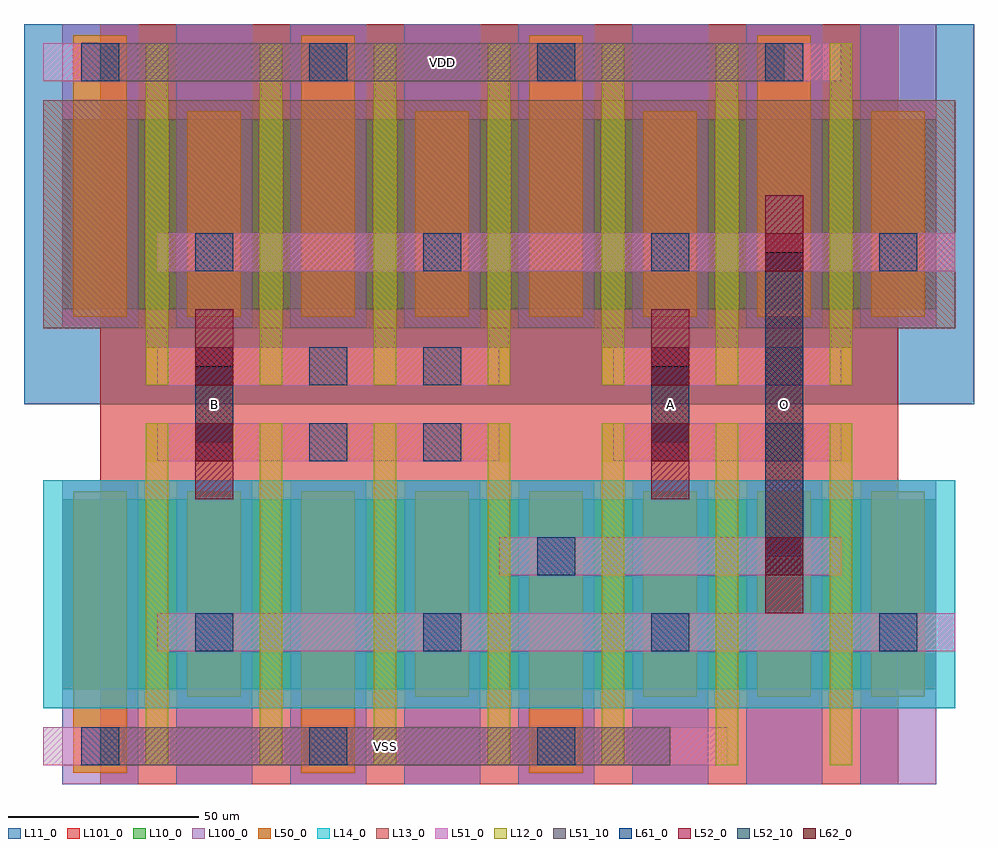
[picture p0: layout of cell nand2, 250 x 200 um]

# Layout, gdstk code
import gdstk
lib = gdstk.Library(unit=1e-6, precision=1e-09)
def R(c, l, rs):  # rectangles x0, y0, x1, y1
    for r in rs: c.add(gdstk.rectangle(r[:2], r[2:], *l))
def A(c, l, x, y, w, h, nx, ny, dx, dy):  # array of equal rectangles
    R(c, l, [(x+i*dx, y+j*dy, x+i*dx+w, y+j*dy+h) for i in range(nx) for j in range(ny)])
L10_0 = (10, 0)
L11_0 = (11, 0)
L12_0 = (12, 0)
L13_0 = (13, 0)
L14_0 = (14, 0)
L50_0 = (50, 0)
L51_0 = (51, 0)
L51_10 = (51, 10)
L52_0 = (52, 0)
L52_10 = (52, 10)
L61_0 = (61, 0)
L62_0 = (62, 0)
L100_0 = (100, 0)
L101_0 = (101, 0)

nand2_virtualinst_mn0 = lib.new_cell('nand2_VirtualInst_MN0')
A(nand2_virtualinst_mn0, L10_0, -10, 25, 50, 50, 4, 1, 30, 0)
A(nand2_virtualinst_mn0, L12_0, 12, 5, 6, 90, 4, 1, 30, 0)
A(nand2_virtualinst_mn0, L14_0, -15, 20, 60, 60, 4, 1, 30, 0)
A(nand2_virtualinst_mn0, L50_0, 12, 85, 36, 10, 3, 1, 30, 0)
R(nand2_virtualinst_mn0, L50_0, [(-7,23,7,77), (23,23,37,77), (23,23,37,77), (53,23,67,77), (53,23,67,77), (83,23,97,77), (83,23,97,77), (113,23,127,77)])
A(nand2_virtualinst_mn0, L100_0, -10, 0, 20, 80, 5, 1, 30, 0)
R(nand2_virtualinst_mn0, L100_0, [(12,85,108,95)])
A(nand2_virtualinst_mn0, L101_0, 0, 0, 30, 100, 4, 1, 30, 0)
nand2_virtualinst_mn0.add(gdstk.Label('S', (0,40), layer=100, texttype=0))
nand2_virtualinst_mn0.add(gdstk.Label('S', (60,40), layer=100, texttype=0))
nand2_virtualinst_mn0.add(gdstk.Label('S', (120,40), layer=100, texttype=0))
nand2_virtualinst_mn0.add(gdstk.Label('D', (30,40), layer=100, texttype=0))
nand2_virtualinst_mn0.add(gdstk.Label('D', (90,40), layer=100, texttype=0))
nand2_virtualinst_mn0.add(gdstk.Label('G', (60,90), layer=100, texttype=0))

nand2_virtualinst_mn1 = lib.new_cell('nand2_VirtualInst_MN1')
A(nand2_virtualinst_mn1, L10_0, -10, 25, 50, 50, 3, 1, 30, 0)
A(nand2_virtualinst_mn1, L12_0, 12, 5, 6, 90, 3, 1, 30, 0)
A(nand2_virtualinst_mn1, L14_0, -15, 20, 60, 60, 3, 1, 30, 0)
R(nand2_virtualinst_mn1, L50_0, [(-7,23,7,77), (23,23,37,77), (23,23,37,77), (53,23,67,77), (53,23,67,77), (83,23,97,77), (12,85,48,95), (42,85,78,95)])
A(nand2_virtualinst_mn1, L100_0, -10, 0, 20, 80, 4, 1, 30, 0)
R(nand2_virtualinst_mn1, L100_0, [(12,85,78,95)])
A(nand2_virtualinst_mn1, L101_0, 0, 0, 30, 100, 3, 1, 30, 0)
nand2_virtualinst_mn1.add(gdstk.Label('D', (0,40), layer=100, texttype=0))
nand2_virtualinst_mn1.add(gdstk.Label('D', (60,40), layer=100, texttype=0))
nand2_virtualinst_mn1.add(gdstk.Label('S', (30,40), layer=100, texttype=0))
nand2_virtualinst_mn1.add(gdstk.Label('S', (90,40), layer=100, texttype=0))
nand2_virtualinst_mn1.add(gdstk.Label('G', (45,90), layer=100, texttype=0))

nand2_virtualinst_mp0 = lib.new_cell('nand2_VirtualInst_MP0')
A(nand2_virtualinst_mp0, L10_0, -10, 25, 50, 50, 4, 1, 30, 0)
A(nand2_virtualinst_mp0, L11_0, -20, 0, 70, 100, 4, 1, 30, 0)
A(nand2_virtualinst_mp0, L12_0, 12, 5, 6, 90, 4, 1, 30, 0)
A(nand2_virtualinst_mp0, L13_0, -15, 20, 60, 60, 4, 1, 30, 0)
A(nand2_virtualinst_mp0, L50_0, 12, 85, 36, 10, 3, 1, 30, 0)
R(nand2_virtualinst_mp0, L50_0, [(-7,23,7,77), (23,23,37,77), (23,23,37,77), (53,23,67,77), (53,23,67,77), (83,23,97,77), (83,23,97,77), (113,23,127,77)])
A(nand2_virtualinst_mp0, L100_0, -10, 0, 20, 80, 5, 1, 30, 0)
R(nand2_virtualinst_mp0, L100_0, [(12,85,108,95)])
A(nand2_virtualinst_mp0, L101_0, 0, 0, 30, 100, 4, 1, 30, 0)
nand2_virtualinst_mp0.add(gdstk.Label('S', (0,40), layer=100, texttype=0))
nand2_virtualinst_mp0.add(gdstk.Label('S', (60,40), layer=100, texttype=0))
nand2_virtualinst_mp0.add(gdstk.Label('S', (120,40), layer=100, texttype=0))
nand2_virtualinst_mp0.add(gdstk.Label('D', (30,40), layer=100, texttype=0))
nand2_virtualinst_mp0.add(gdstk.Label('D', (90,40), layer=100, texttype=0))
nand2_virtualinst_mp0.add(gdstk.Label('G', (60,90), layer=100, texttype=0))

nand2_virtualinst_mp1 = lib.new_cell('nand2_VirtualInst_MP1')
A(nand2_virtualinst_mp1, L10_0, -10, 25, 50, 50, 3, 1, 30, 0)
A(nand2_virtualinst_mp1, L11_0, -20, 0, 70, 100, 3, 1, 30, 0)
A(nand2_virtualinst_mp1, L12_0, 12, 5, 6, 90, 3, 1, 30, 0)
A(nand2_virtualinst_mp1, L13_0, -15, 20, 60, 60, 3, 1, 30, 0)
R(nand2_virtualinst_mp1, L50_0, [(-7,23,7,77), (23,23,37,77), (23,23,37,77), (53,23,67,77), (53,23,67,77), (83,23,97,77), (12,85,48,95), (42,85,78,95)])
A(nand2_virtualinst_mp1, L100_0, -10, 0, 20, 80, 4, 1, 30, 0)
R(nand2_virtualinst_mp1, L100_0, [(12,85,78,95)])
A(nand2_virtualinst_mp1, L101_0, 0, 0, 30, 100, 3, 1, 30, 0)
nand2_virtualinst_mp1.add(gdstk.Label('S', (0,40), layer=100, texttype=0))
nand2_virtualinst_mp1.add(gdstk.Label('S', (60,40), layer=100, texttype=0))
nand2_virtualinst_mp1.add(gdstk.Label('D', (30,40), layer=100, texttype=0))
nand2_virtualinst_mp1.add(gdstk.Label('D', (90,40), layer=100, texttype=0))
nand2_virtualinst_mp1.add(gdstk.Label('G', (45,90), layer=100, texttype=0))

nand2_virtualinst_noname = lib.new_cell('nand2_VirtualInst_NoName_1')
R(nand2_virtualinst_noname, L61_0, [(-5,-5,5,5)])

c_nand2_virtualinst_noname = lib.new_cell('nand2_VirtualInst_NoName_2')
R(c_nand2_virtualinst_noname, L61_0, [(-5,-5,5,5)])

c_nand2_virtualinst_noname_ = lib.new_cell('nand2_VirtualInst_NoName_4')
R(c_nand2_virtualinst_noname_, L61_0, [(-5,-5,5,5)])

c_nand2_virtualinst_noname__ = lib.new_cell('nand2_VirtualInst_NoName_5')
R(c_nand2_virtualinst_noname__, L61_0, [(-5,-5,5,5)])

c_nand2_virtualinst_noname___ = lib.new_cell('nand2_VirtualInst_NoName_6')
R(c_nand2_virtualinst_noname___, L62_0, [(-5,-5,5,5)])

c_nand2_virtualinst_noname____ = lib.new_cell('nand2_VirtualInst_NoName_8')
R(c_nand2_virtualinst_noname____, L62_0, [(-5,-5,5,5)])

c_nand2_virtualinst_noname_____ = lib.new_cell('nand2_VirtualInst_NoName_10')
R(c_nand2_virtualinst_noname_____, L61_0, [(-5,-5,5,5)])

c_nand2_virtualinst_noname______ = lib.new_cell('nand2_VirtualInst_NoName_11')
R(c_nand2_virtualinst_noname______, L61_0, [(-5,-5,5,5)])

c_nand2_virtualinst_noname_______ = lib.new_cell('nand2_VirtualInst_NoName_12')
R(c_nand2_virtualinst_noname_______, L61_0, [(-5,-5,5,5)])

c_nand2_virtualinst_noname________ = lib.new_cell('nand2_VirtualInst_NoName_14')
R(c_nand2_virtualinst_noname________, L61_0, [(-5,-5,5,5)])

c_nand2_virtualinst_noname_________ = lib.new_cell('nand2_VirtualInst_NoName_15')
R(c_nand2_virtualinst_noname_________, L61_0, [(-5,-5,5,5)])

c_nand2_virtualinst_noname__________ = lib.new_cell('nand2_VirtualInst_NoName_16')
R(c_nand2_virtualinst_noname__________, L61_0, [(-5,-5,5,5)])

c_nand2_virtualinst_noname___________ = lib.new_cell('nand2_VirtualInst_NoName_17')
R(c_nand2_virtualinst_noname___________, L62_0, [(-5,-5,5,5)])

c_nand2_virtualinst_noname____________ = lib.new_cell('nand2_VirtualInst_NoName_19')
R(c_nand2_virtualinst_noname____________, L62_0, [(-5,-5,5,5)])

c_nand2_virtualinst_noname_____________ = lib.new_cell('nand2_VirtualInst_NoName_21')
R(c_nand2_virtualinst_noname_____________, L61_0, [(-5,-5,5,5)])

c_nand2_virtualinst_noname______________ = lib.new_cell('nand2_VirtualInst_NoName_22')
R(c_nand2_virtualinst_noname______________, L61_0, [(-5,-5,5,5)])

c_nand2_virtualinst_noname_______________ = lib.new_cell('nand2_VirtualInst_NoName_23')
R(c_nand2_virtualinst_noname_______________, L61_0, [(-5,-5,5,5)])

c_nand2_virtualinst_noname________________ = lib.new_cell('nand2_VirtualInst_NoName_24')
R(c_nand2_virtualinst_noname________________, L61_0, [(-5,-5,5,5)])

c_nand2_virtualinst_noname_________________ = lib.new_cell('nand2_VirtualInst_NoName_26')
R(c_nand2_virtualinst_noname_________________, L61_0, [(-5,-5,5,5)])

c_nand2_virtualinst_noname__________________ = lib.new_cell('nand2_VirtualInst_NoName_27')
R(c_nand2_virtualinst_noname__________________, L61_0, [(-5,-5,5,5)])

c_nand2_virtualinst_noname___________________ = lib.new_cell('nand2_VirtualInst_NoName_29')
R(c_nand2_virtualinst_noname___________________, L61_0, [(-5,-5,5,5)])

c_nand2_virtualinst_noname____________________ = lib.new_cell('nand2_VirtualInst_NoName_30')
R(c_nand2_virtualinst_noname____________________, L61_0, [(-5,-5,5,5)])

c_nand2_virtualinst_noname_____________________ = lib.new_cell('nand2_VirtualInst_NoName_31')
R(c_nand2_virtualinst_noname_____________________, L61_0, [(-5,-5,5,5)])

c_nand2_virtualinst_noname______________________ = lib.new_cell('nand2_VirtualInst_NoName_32')
R(c_nand2_virtualinst_noname______________________, L61_0, [(-5,-5,5,5)])

c_nand2_virtualinst_noname_______________________ = lib.new_cell('nand2_VirtualInst_NoName_33')
R(c_nand2_virtualinst_noname_______________________, L62_0, [(-5,-5,5,5)])

c_nand2_virtualinst_noname________________________ = lib.new_cell('nand2_VirtualInst_NoName_35')
R(c_nand2_virtualinst_noname________________________, L62_0, [(-5,-5,5,5)])

c_nand2_virtualinst_noname_________________________ = lib.new_cell('nand2_VirtualInst_NoName_37')
R(c_nand2_virtualinst_noname_________________________, L50_0, [(-7,-7,7,13)])
R(c_nand2_virtualinst_noname_________________________, L61_0, [(-5,-5,5,5)])

c_nand2_virtualinst_noname__________________________ = lib.new_cell('nand2_VirtualInst_NoName_38')
R(c_nand2_virtualinst_noname__________________________, L50_0, [(-7,-7,7,13)])
R(c_nand2_virtualinst_noname__________________________, L61_0, [(-5,-5,5,5)])

c_nand2_virtualinst_noname___________________________ = lib.new_cell('nand2_VirtualInst_NoName_39')
R(c_nand2_virtualinst_noname___________________________, L50_0, [(-7,-7,7,13)])
R(c_nand2_virtualinst_noname___________________________, L61_0, [(-5,-5,5,5)])

c_nand2_virtualinst_noname____________________________ = lib.new_cell('nand2_VirtualInst_NoName_41')
R(c_nand2_virtualinst_noname____________________________, L50_0, [(-7,-13,7,7)])
R(c_nand2_virtualinst_noname____________________________, L61_0, [(-5,-5,5,5)])

c_nand2_virtualinst_noname_____________________________ = lib.new_cell('nand2_VirtualInst_NoName_42')
R(c_nand2_virtualinst_noname_____________________________, L50_0, [(-7,-13,7,7)])
R(c_nand2_virtualinst_noname_____________________________, L61_0, [(-5,-5,5,5)])

c_nand2_virtualinst_noname______________________________ = lib.new_cell('nand2_VirtualInst_NoName_43')
R(c_nand2_virtualinst_noname______________________________, L50_0, [(-7,-13,7,7)])
R(c_nand2_virtualinst_noname______________________________, L61_0, [(-5,-5,5,5)])

c_nand2_virtualinst_noname_______________________________ = lib.new_cell('nand2_VirtualInst_NoName_44')
R(c_nand2_virtualinst_noname_______________________________, L50_0, [(-7,-13,7,7)])
R(c_nand2_virtualinst_noname_______________________________, L61_0, [(-5,-5,5,5)])

c_nand2_virtualinst_noname________________________________ = lib.new_cell('nand2_VirtualInst_NoName_45')
R(c_nand2_virtualinst_noname________________________________, L50_0, [(-7,-13,7,7)])
R(c_nand2_virtualinst_noname________________________________, L61_0, [(-5,-5,5,5)])

nand2 = lib.new_cell('nand2')
R(nand2, L51_0, [(-15,5,165,15), (15,35,225,45), (105,55,195,65), (15,85,105,95), (135,85,195,95), (15,105,105,115), (135,105,195,115), (15,135,225,145), (-15,185,195,195)])
R(nand2, L51_10, [(0,5,150,15), (0,185,180,195)])
R(nand2, L52_0, [(175,45,185,155), (25,75,35,125), (145,75,155,125)])
R(nand2, L52_10, [(175,60,185,140), (25,90,35,110), (145,90,155,110)])
nand2.add(gdstk.Reference(nand2_virtualinst_mn0, (0,0)))
nand2.add(gdstk.Reference(nand2_virtualinst_mn1, (120,0)))
nand2.add(gdstk.Reference(nand2_virtualinst_mp0, (0,200), x_reflection=True))
nand2.add(gdstk.Reference(nand2_virtualinst_mp1, (120,200), x_reflection=True))
nand2.add(gdstk.Reference(nand2_virtualinst_noname, (150,90)))
nand2.add(gdstk.Reference(c_nand2_virtualinst_noname, (180,90)))
nand2.add(gdstk.Reference(c_nand2_virtualinst_noname_, (150,110)))
nand2.add(gdstk.Reference(c_nand2_virtualinst_noname__, (180,110)))
nand2.add(gdstk.Reference(c_nand2_virtualinst_noname___, (150,90)))
nand2.add(gdstk.Reference(c_nand2_virtualinst_noname____, (150,110)))
nand2.add(gdstk.Reference(c_nand2_virtualinst_noname_____, (30,90)))
nand2.add(gdstk.Reference(c_nand2_virtualinst_noname______, (60,90)))
nand2.add(gdstk.Reference(c_nand2_virtualinst_noname_______, (90,90)))
nand2.add(gdstk.Reference(c_nand2_virtualinst_noname________, (30,110)))
nand2.add(gdstk.Reference(c_nand2_virtualinst_noname_________, (60,110)))
nand2.add(gdstk.Reference(c_nand2_virtualinst_noname__________, (90,110)))
nand2.add(gdstk.Reference(c_nand2_virtualinst_noname___________, (30,90)))
nand2.add(gdstk.Reference(c_nand2_virtualinst_noname____________, (30,110)))
nand2.add(gdstk.Reference(c_nand2_virtualinst_noname_____________, (30,40)))
nand2.add(gdstk.Reference(c_nand2_virtualinst_noname______________, (90,40)))
nand2.add(gdstk.Reference(c_nand2_virtualinst_noname_______________, (150,40)))
nand2.add(gdstk.Reference(c_nand2_virtualinst_noname________________, (210,40)))
nand2.add(gdstk.Reference(c_nand2_virtualinst_noname_________________, (120,60)))
nand2.add(gdstk.Reference(c_nand2_virtualinst_noname__________________, (180,60)))
nand2.add(gdstk.Reference(c_nand2_virtualinst_noname___________________, (30,140)))
nand2.add(gdstk.Reference(c_nand2_virtualinst_noname____________________, (90,140)))
nand2.add(gdstk.Reference(c_nand2_virtualinst_noname_____________________, (150,140)))
nand2.add(gdstk.Reference(c_nand2_virtualinst_noname______________________, (210,140)))
nand2.add(gdstk.Reference(c_nand2_virtualinst_noname_______________________, (180,60)))
nand2.add(gdstk.Reference(c_nand2_virtualinst_noname________________________, (180,140)))
nand2.add(gdstk.Reference(c_nand2_virtualinst_noname_________________________, (0,10)))
nand2.add(gdstk.Reference(c_nand2_virtualinst_noname__________________________, (60,10)))
nand2.add(gdstk.Reference(c_nand2_virtualinst_noname___________________________, (120,10)))
nand2.add(gdstk.Reference(c_nand2_virtualinst_noname____________________________, (0,190)))
nand2.add(gdstk.Reference(c_nand2_virtualinst_noname_____________________________, (60,190)))
nand2.add(gdstk.Reference(c_nand2_virtualinst_noname______________________________, (120,190)))
nand2.add(gdstk.Reference(c_nand2_virtualinst_noname_______________________________, (120,190)))
nand2.add(gdstk.Reference(c_nand2_virtualinst_noname________________________________, (180,190)))
nand2.add(gdstk.Label('A', (150,100), layer=52, texttype=10))
nand2.add(gdstk.Label('B', (30,100), layer=52, texttype=10))
nand2.add(gdstk.Label('O', (180,100), layer=52, texttype=10))
nand2.add(gdstk.Label('VSS', (75,10), layer=51, texttype=10))
nand2.add(gdstk.Label('VDD', (90,190), layer=51, texttype=10))

lib.write_gds('nand2.gds')
